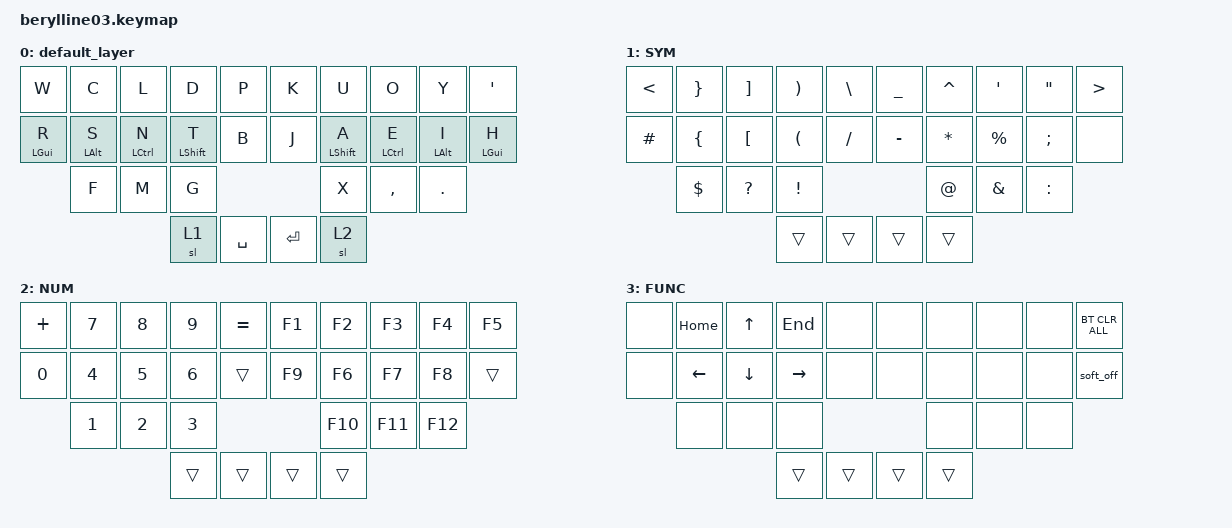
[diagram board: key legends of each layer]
#include <behaviors.dtsi>
#include <dt-bindings/zmk/bt.h>
#include <dt-bindings/zmk/keys.h>

/* Layers */

#define DEF 0
#define NAV 1
#define SYM 2
#define NUM 3

/* Shortcuts */

#define CUT LC(X)
#define COPY LC(C)
#define PASTE LC(V)
#define UNDO LC(Z)
#define ALL LC(A)
#define TOP LC(HOME)
#define BTM LC(END)

/* Behavior Settings */

&mt {
    quick-tap-ms = <100>;
    global-quick-tap;
    flavor = "tap-preferred";
    tapping-term-ms = <250>;
};

&sk {
    release-after-ms = <250>;
    quick-release;
};

&sl { release-after-ms = <250>; };

/ {
    conditional_layers {
        compatible = "zmk,conditional-layers";

        tri_layer {
            if-layers = <1 2>;
            then-layer = <3>;
        };
    };

    combos {
        compatible = "zmk,combos";

        /*                KEY POSITIONS

             0   1   2   3   4      5   6   7   8   9
            10  11  12  13  14     15  16  17  18  19
                20  21  22             23  24  25
                        26  27     28  29              */
        /* Letters */

        v {
            key-positions = <1 2>;
            bindings = <&kp V>;
            layers = <0>;
        };

        q {
            key-positions = <2 3>;
            bindings = <&kp Q>;
            layers = <0>;
        };

        z {
            key-positions = <20 21>;
            bindings = <&kp Z>;
            layers = <0>;
        };

        /* Brackets */

        lbrc {
            key-positions = <1 11>;
            bindings = <&kp LEFT_BRACE>;
            layers = <0>;
        };

        rbrc {
            key-positions = <8 18>;
            bindings = <&kp RIGHT_BRACE>;
            layers = <0>;
        };

        lbkt {
            key-positions = <2 12>;
            bindings = <&kp LEFT_BRACKET>;
            layers = <0>;
        };

        rbkt {
            key-positions = <7 17>;
            bindings = <&kp RIGHT_BRACKET>;
            layers = <0>;
        };

        lpar {
            key-positions = <3 13>;
            bindings = <&kp LEFT_PARENTHESIS>;
            layers = <0>;
        };

        rpar {
            key-positions = <6 16>;
            bindings = <&kp RIGHT_PARENTHESIS>;
            layers = <0>;
        };

        /* Convenience */

        del {
            key-positions = <5 6>;
            bindings = <&kp DEL>;
            layers = <0>;
        };

        esc {
            key-positions = <5 15>;
            bindings = <&kp ESC>;
            layers = <0>;
        };

        ins {
            bindings = <&kp INS>;
            key-positions = <6 7>;
            layers = <0>;
        };

        bpsc {
            bindings = <&kp BACKSPACE>;
            key-positions = <7 8>;
            layers = <0>;
        };

        pscn {
            bindings = <&kp PRINTSCREEN>;
            key-positions = <19 25>;
            layers = <0>;
        };
    };

    keymap {
        compatible = "zmk,keymap";

        default_layer {
            bindings = <
&kp W           &kp C           &kp L        &kp D             &kp P        &kp K      &kp U             &kp O        &kp Y           &kp SINGLE_QUOTE
&mt LEFT_GUI R  &mt LEFT_ALT S  &mt LCTRL N  &mt LEFT_SHIFT T  &kp B        &kp J      &mt LEFT_SHIFT A  &mt LCTRL E  &mt LEFT_ALT I  &mt LEFT_GUI H
                &kp F           &kp M        &kp G                                     &kp X             &kp COMMA    &kp DOT
                                             &sl 1             &kp SPACE    &kp ENTER  &sl 2
            >;
        };

        sym_layer {
            bindings = <
&kp LESS_THAN  &kp RIGHT_BRACE  &kp RIGHT_BRACKET  &kp RIGHT_PARENTHESIS  &kp BACKSLASH    &kp UNDER  &kp CARET    &kp SQT        &kp DOUBLE_QUOTES  &kp GREATER_THAN
&kp HASH       &kp LEFT_BRACE   &kp LEFT_BRACKET   &kp LEFT_PARENTHESIS   &kp SLASH        &kp MINUS  &kp ASTRK    &kp PERCENT    &kp SEMICOLON      &none
               &kp DOLLAR       &kp QUESTION       &kp EXCLAMATION                                    &kp AT_SIGN  &kp AMPERSAND  &kp COLON
                                                   &trans                 &trans           &trans     &trans
            >;

            label = "SYM";
        };

        num_layer {
            bindings = <
&kp PLUS  &kp N7  &kp N8  &kp N9  &kp EQUAL    &kp F1  &kp F2   &kp F3   &kp F4   &kp F5
&kp N0    &kp N4  &kp N5  &kp N6  &trans       &kp F9  &kp F6   &kp F7   &kp F8   &trans
          &kp N1  &kp N2  &kp N3                       &kp F10  &kp F11  &kp F12
                          &trans  &trans       &trans  &trans
            >;

            label = "NUM";
        };

        func_layer {
            bindings = <
&none  &kp HOME  &kp UP    &kp END    &none     &none   &none   &none  &none  &bt BT_CLR_ALL
&none  &kp LEFT  &kp DOWN  &kp RIGHT  &none     &none   &none   &none  &none  &soft_off
       &none     &none     &none                        &none   &none  &none
                           &trans     &trans    &trans  &trans
            >;

            label = "FUNC";
        };
    };
};
